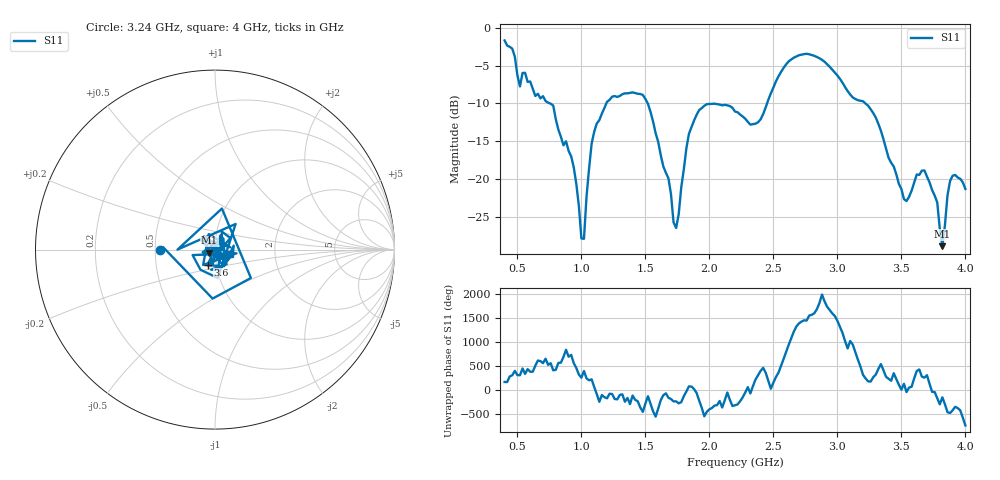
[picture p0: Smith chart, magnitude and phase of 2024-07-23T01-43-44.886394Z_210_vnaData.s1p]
!Created with skrf (http://scikit-rf.org).
# Hz S RI R 50.0
!freq ReS11 ImS11
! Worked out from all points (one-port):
!   181 points, 400 MHz to 4 GHz, reference 50 ohm
!   lowest |S11| = -28.9 dB at 3.82 GHz (marker M1), VSWR 1.07, Z = 46.9 - j1.67 ohm
!   |S11| at or under -10 dB: 755.6 MHz to 1.195 GHz (438.9 MHz wide, 45 % of centre); 1.518 GHz to 2.45 GHz (932 MHz wide, 47 % of centre); 3.219 GHz to end of sweep
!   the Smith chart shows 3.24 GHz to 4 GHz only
!   S11 on the Smith chart (normalised r, x): 3.24 GHz: 0.53, -0.01; 3.6 GHz: 0.91, -0.16; 4 GHz: 1.18, -0.05
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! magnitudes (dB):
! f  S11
! 400 MHz  -1.7
! 520 MHz  -7.7
! 780 MHz  -10.3
! 860 MHz  -15.5
! 940 MHz  -18.4
! 1 GHz  -27.8
! 1.02 GHz  -27.9
! 1.06 GHz  -18.6
! 1.1 GHz  -13.7
! 1.3 GHz  -9.0
! 1.52 GHz  -10.1
! 1.68 GHz  -19.9
! 1.72 GHz  -25.7
! 1.76 GHz  -24.7
! 1.84 GHz  -14.0
! 1.92 GHz  -10.9
! 2.2 GHz  -11.1
! 2.38 GHz  -12.5
! 2.66 GHz  -3.9
! 3.1 GHz  -8.8
! 3.24 GHz  -10.3
! 3.56 GHz  -22.3
! 3.6 GHz  -20.5
! 3.68 GHz  -18.9
! 3.78 GHz  -23.1
! 3.82 GHz  -28.9
! 3.88 GHz  -20.3
! 4 GHz  -21.3
